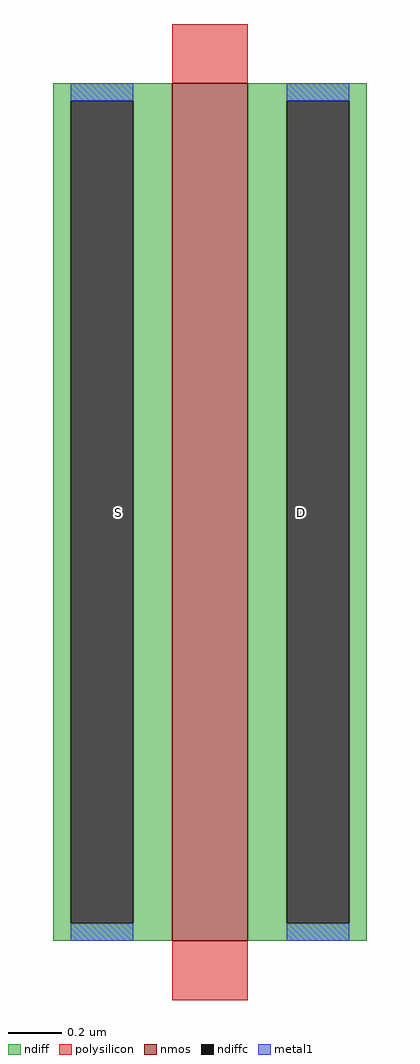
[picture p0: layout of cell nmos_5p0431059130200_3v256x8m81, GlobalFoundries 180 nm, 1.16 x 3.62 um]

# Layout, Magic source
magic
tech gf180mcuD
magscale 1 10
<< nmos >>
rect 0 0 56 635
<< ndiff >>
rect -88 622 0 635
rect -88 13 -75 622
rect -29 13 0 622
rect -88 0 0 13
rect 56 622 144 635
rect 56 13 85 622
rect 131 13 144 622
rect 56 0 144 13
<< ndiffc >>
rect -75 13 -29 622
rect 85 13 131 622
<< polysilicon >>
rect 0 635 56 679
rect 0 -44 56 0
<< metal1 >>
rect -75 622 -29 635
rect -75 0 -29 13
rect 85 622 131 635
rect 85 0 131 13
<< labels >>
flabel ndiffc -40 317 -40 317 0 FreeSans 93 0 0 0 S
flabel ndiffc 96 317 96 317 0 FreeSans 93 0 0 0 D
<< end >>
